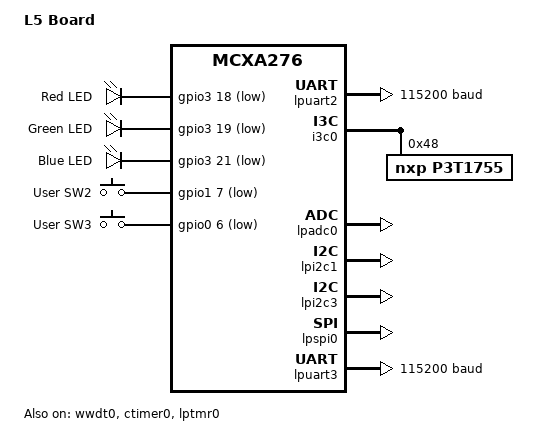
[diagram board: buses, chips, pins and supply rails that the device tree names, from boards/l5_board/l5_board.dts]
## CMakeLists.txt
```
cmake_minimum_required(VERSION 3.20.0)


list(APPEND BOARD_ROOT "${CMAKE_CURRENT_SOURCE_DIR}")
list(APPEND DTS_ROOT ${CMAKE_CURRENT_SOURCE_DIR}/..)

# Add by iam in order to use the FRDM_MCXN236 board
set(DTS_EXTRA_OVERLAY_FILE ${CMAKE_CURRENT_SOURCE_DIR}/app.overlay)


find_package(Zephyr REQUIRED HINTS $ENV{ZEPHYR_BASE})

project(my_zephyr_app)

add_subdirectory(drivers/our_sensor_driver)
# target_sources(app PRIVATE drivers/our_sensor_driver/our_sensor_driver.c)
# target_sources(app PRIVATE drivers/our_sensor_driver/osensor_apiext_shell.c)
# target_include_directories(app PRIVATE drivers/our_sensor_driver)

target_sources(app PRIVATE src/main.cpp)
```

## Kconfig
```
# Define the custom heartbeat period option
config APP_HEARTBEAT_PERIOD_MS
    int "App Heartbeat Period in ms (100-2000)"
    range 100 2000
    default 500
    help
      Sets the sleep duration for the application heartbeat LED toggle.

# Source the main Zephyr Kconfig file
source "Kconfig.zephyr"
rsource "drivers/our_sensor_driver/Kconfig"
```

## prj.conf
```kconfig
CONFIG_GPIO=y
CONFIG_LOG=y

CONFIG_OUR_SENSOR_DRIVER=y
CONFIG_TEST_RANDOM_GENERATOR=y

# L7 task 2
# Enable shell support
CONFIG_SHELL=y
# Disable the native sensor shell
CONFIG_SENSOR_SHELL=n


# Choose a default sleep duration 500ms
CONFIG_APP_HEARTBEAT_PERIOD_MS=1000
```

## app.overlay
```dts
/{
    our_sensor_driver0: our_sensor_driver0 {
        compatible = "our,sensor-driver";
        led-gpios = <&gpio4 18 GPIO_ACTIVE_LOW>;
        status = "okay";
    };
};
```

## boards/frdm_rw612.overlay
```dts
/{
   leds {
	red_led: led_0 {
		gpios = <&hsgpio0 1 GPIO_ACTIVE_LOW>;
	};

	blue_led: led_2 {
		gpios = <&hsgpio0 0 GPIO_ACTIVE_LOW>;
	};

   };
};
```

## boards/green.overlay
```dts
/{
    aliases {
	warning-led = &green_led;
    };
};
```

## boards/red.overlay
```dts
/{
    aliases {
	warning-led = &red_led;
    };
};
```

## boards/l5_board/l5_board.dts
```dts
/*
 * Copyright 2025 NXP
 *
 * SPDX-License-Identifier: Apache-2.0
 */

/dts-v1/;

#include <nxp/nxp_mcxa276.dtsi>
#include "frdm_mcxa276-pinctrl.dtsi"
#include <zephyr/dt-bindings/input/input-event-codes.h>
#include <freq.h>

/ {
	model = "L5 Board";
	compatible = "iomic-iam,l5_boardn";

	aliases{
		led0 = &red_led;
		led1 = &green_led;
		led2 = &red_led;
		sw0 = &user_button_2;
		sw1 = &user_button_3;
		watchdog0 = &wwdt0;
		ambient-temp0 = &p3t1755;
		die-temp0 = &temp0;
	};

	chosen {
		zephyr,sram = &sram0;
		zephyr,flash = &flash;
		zephyr,flash-controller = &fmu;
		zephyr,code-partition = &slot0_partition;
		zephyr,console = &lpuart2;
		zephyr,shell-uart = &lpuart2;
	};

	leds {
		compatible = "gpio-leds";

		red_led: led_0 {
			gpios = <&gpio3 18 GPIO_ACTIVE_LOW>;
			label = "Red LED";
		};

		green_led: led_1 {
			gpios = <&gpio3 19 GPIO_ACTIVE_LOW>;
			label = "Green LED";
		};

		blue_led: led_2 {
			gpios = <&gpio3 21 GPIO_ACTIVE_LOW>;
			label = "Blue LED";
		};
	};

	gpio_keys {
		compatible = "gpio-keys";

		user_button_2: button_2 {
			label = "User SW2";
			gpios = <&gpio1 7 GPIO_ACTIVE_LOW>;
			zephyr,code = <INPUT_KEY_0>;
		};

		user_button_3: button_3 {
			label = "User SW3";
			gpios = <&gpio0 6 GPIO_ACTIVE_LOW>;
			zephyr,code = <INPUT_KEY_1>;
		};
	};

};

&porta {
	status = "okay";
};

&portb {
	status = "okay";
};

&portc {
	status = "okay";
};

&portd {
	status = "okay";
};

&porte {
	status = "okay";
};

&gpio0 {
	status = "okay";
};

&gpio1 {
	status = "okay";
};

&gpio2 {
	status = "okay";
};

&gpio3 {
	status = "okay";
};

&gpio4 {
	status = "okay";
};

&lpuart2 {
	status = "okay";
	current-speed = <115200>;
	pinctrl-0 = <&pinmux_lpuart2>;
	pinctrl-names = "default";
};

&edma0 {
	status = "okay";
};

&i3c0 {
	status = "okay";
	pinctrl-0 = <&pinmux_i3c0>;
	pinctrl-names = "default";

	i2c-scl-hz = <DT_FREQ_K(400)>;
	i3c-scl-hz = <DT_FREQ_M(4)>;
	i3c-od-scl-hz = <DT_FREQ_K(1500)>;

	p3t1755: p3t1755@4800000236152a0090 {
		compatible = "nxp,p3t1755";
		reg = <0x48 0x0236 0x152a0090>;
		status = "okay";
	};
};

&lpadc0 {
	status = "okay";
	pinctrl-0 = <&pinmux_lpadc0>;
	pinctrl-names = "default";
};

&lpi2c1 {
	status = "okay";
	pinctrl-0 = <&pinmux_lpi2c1>;
	pinctrl-names = "default";
};

&lpi2c3 {
	status = "okay";
	pinctrl-0 = <&pinmux_lpi2c3>;
	pinctrl-names = "default";
};

&lpspi0 {
	status = "okay";
	pinctrl-0 = <&pinmux_lpspi0>;
	pinctrl-names = "default";
};

&flash {
	partitions {
		compatible = "fixed-partitions";
		#address-cells = <1>;
		#size-cells = <1>;

		boot_partition: partition@0 {
			label = "mcuboot";
			reg = <0x00000000 DT_SIZE_K(64)>;
			read-only;
		};
		slot0_partition: partition@10000 {
			label = "image-0";
			reg = <0x00010000 DT_SIZE_K(400)>;
		};
		slot1_partition: partition@74000 {
			label = "image-1";
			reg = <0x00074000 DT_SIZE_K(400)>;
		};
		storage_partition: partition@d8000 {
			label = "storage";
			reg = <0x000d8000 DT_SIZE_K(112)>;
		};
	};
};

&wwdt0 {
	status = "okay";
};

&ctimer0 {
	status = "okay";
};

&lptmr0 {
	status = "okay";
};

&lpuart3 {
	current-speed = <115200>;
	pinctrl-0 = <&pinmux_lpuart3>;
	pinctrl-names = "default";
};
```

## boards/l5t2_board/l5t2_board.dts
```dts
/dts-v1/;


#include <nxp/nxp_mcxa156.dtsi>
#include "frdm_mcxa156-pinctrl.dtsi"
#include <zephyr/dt-bindings/input/input-event-codes.h>
#include <freq.h>

/{
	model = "L5T2 Board Customized MCX A156";
	compatible = "iomico-iam,l5t2_board";

	aliases{
		led0 = &red_led;
		led1 = &green_led;
		led2 = &blue_led;
	};

	chosen {
		zephyr,sram = &sram0;
        	zephyr,flash = &flash;
		zephyr,flash-controller = &fmu;
		zephyr,code-partition = &slot0_partition;
        	zephyr,console = &lpuart0;
        	zephyr,shell-uart = &lpuart0;
		zephyr,shell-uart = &lpuart1;   /* Modifié 0 en 1 */
	};

	leds {
		compatible = "gpio-leds";
		red_led: led_0 {
			gpios = <&gpio3 12 GPIO_ACTIVE_LOW>;
			label = "Red LED";
		};
		green_led: led_1 {
			gpios = <&gpio3 13 GPIO_ACTIVE_LOW>;
			label = "Green LED";
		};
		blue_led: led_2 {
			gpios = <&gpio3 0 GPIO_ACTIVE_LOW>;
			label = "Blue LED";
		};
	};

};

&gpio3 {
	status = "okay";
};

&lpuart0 {
	status = "okay";
	current-speed = <115200>;
	pinctrl-0 = <&pinmux_lpuart0>;
	pinctrl-names = "default";
};

&lpuart1 {
	status = "okay";
	current-speed = <115200>;
	pinctrl-0 = <&pinmux_lpuart1>;
	pinctrl-names = "default";
};


&flash {
	partitions {
		compatible = "fixed-partitions";
		#address-cells = <1>;
		#size-cells = <1>;

		boot_partition: partition@0 {
			label = "mcuboot";
			reg = <0x00000000 DT_SIZE_K(64)>;
			read-only;
		};
		slot0_partition: partition@10000 {
			label = "image-0";
			reg = <0x00010000 DT_SIZE_K(424)>;
		};
		slot1_partition: partition@7a000 {
			label = "image-1";
			reg = <0x0007a000 DT_SIZE_K(424)>;
		};
		storage_partition: partition@e4000 {
			label = "storage";
			reg = <0x000e4000 DT_SIZE_K(112)>;
		};
	};
};
```

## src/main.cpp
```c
#include <zephyr/kernel.h>
#include <zephyr/device.h>
#include <zephyr/drivers/sensor.h>
#include <zephyr/logging/log.h>
#include <zephyr/sys/printk.h>
#include <zephyr/random/random.h>

extern "C" {
    #include "our_sensor_driver.h"  
}



/* The devicetree node identifier for the "led0" alias. */
//#define LED_NODE DT_ALIAS(led2)
//#define LED_NODE DT_NODELABEL(red_led)
//#define LED_NODE DT_PATH(leds, led_2)
//#define LED_NODE DT_ALIAS(app_led)


//static const struct gpio_dt_spec led = GPIO_DT_SPEC_GET(LED_NODE, gpios);

LOG_MODULE_REGISTER(main, LOG_LEVEL_INF);

int main(void)
{
    const struct device *sensor_dev = DEVICE_DT_GET(DT_NODELABEL(our_sensor_driver0));
    struct sensor_value val;
    int ret = 0;

    /* Verify that the sensor device is ready to be used */
    if(!device_is_ready(sensor_dev)) {
        LOG_ERR("Sensor device not ready");
        return -ENODEV;
    }
    LOG_INF("Sensor device is ready");

    LOG_INF("Setting calibration value to random generated value");

    /* Set a random calibration value */
    int32_t random_calibration_value = sys_rand32_get(); // Random value
    ret = our_sensor_driver_set_calibration(sensor_dev, random_calibration_value);
    if(ret < 0) {
        LOG_ERR("Failed to set calibration value: %d", ret);
        return ret;
    }else {
        LOG_INF("Calibration value set to: %d", random_calibration_value);
    }

    LOG_INF("Starting the main loop to toggle the LED state");
    while (1) {

        /* 3. Fetch: Turn on the LED */
        ret = sensor_sample_fetch(sensor_dev);
        if(ret < 0) {
            LOG_ERR("Failed to fetch sensor sample: %d", ret);
            return ret;
        }

        /* Pause time before turning off the LED */
        k_msleep(CONFIG_APP_HEARTBEAT_PERIOD_MS);

        /* 4. Process: Toggle the LED state */
        ret = sensor_channel_get(sensor_dev, SENSOR_CHAN_VOLTAGE, &val);
        if(ret < 0) {
            LOG_ERR("Failed to get sensor channel value: %d", ret);
        }else {
            LOG_INF("Sensor channel value: %d", val.val1);
        }
        /* Pause time before next iteration */
        k_msleep(CONFIG_APP_HEARTBEAT_PERIOD_MS);
    }
    return 0;
}
```
